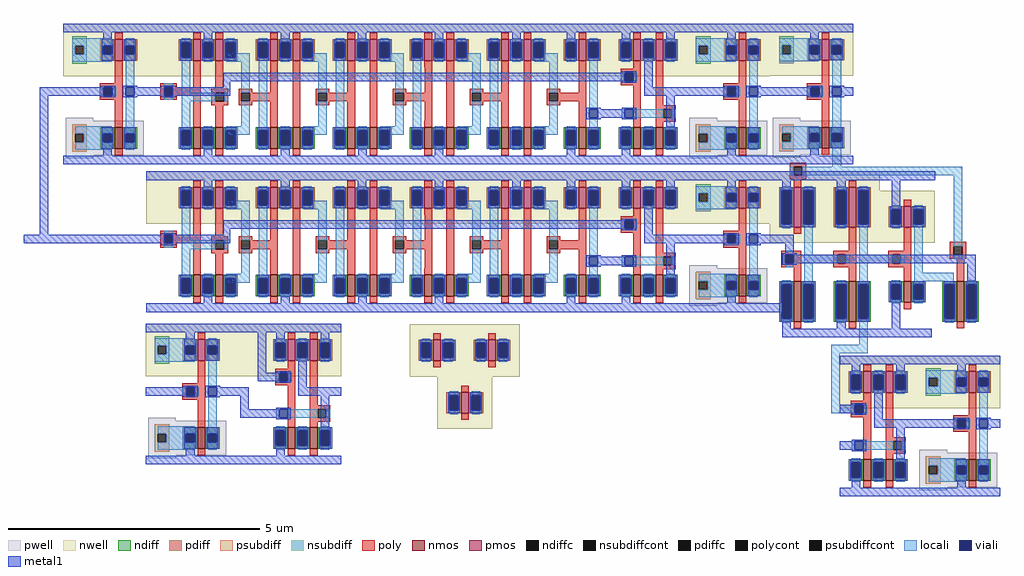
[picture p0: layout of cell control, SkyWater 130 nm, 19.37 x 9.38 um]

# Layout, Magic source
magic
tech sky130A
magscale 1 2
<< nwell >>
rect 658 -841 798 -633
<< ndiff >>
rect 3148 -476 3206 -464
rect 3148 -612 3160 -476
rect 3194 -612 3206 -476
rect 3148 -624 3206 -612
<< pdiff >>
rect 3148 -102 3206 -90
rect 3148 -238 3160 -102
rect 3194 -238 3206 -102
rect 3148 -250 3206 -238
<< ndiffc >>
rect 3160 -612 3194 -476
<< pdiffc >>
rect 3160 -238 3194 -102
<< poly >>
rect 2884 -9 2950 7
rect 2884 -43 2900 -9
rect 2934 -43 2950 -9
rect 2884 -59 2950 -43
rect 2900 -64 2930 -59
rect 3118 -342 3148 -276
rect 3336 -342 3366 -250
rect 2850 -358 2930 -342
rect 2850 -392 2866 -358
rect 2900 -392 2930 -358
rect 2850 -408 2930 -392
rect 3057 -358 3148 -342
rect 3057 -392 3073 -358
rect 3107 -392 3148 -358
rect 3057 -408 3148 -392
rect 3275 -358 3366 -342
rect 3275 -392 3291 -358
rect 3325 -392 3366 -358
rect 3520 -324 3586 -308
rect 3520 -358 3536 -324
rect 3570 -358 3586 -324
rect 3520 -374 3586 -358
rect 3275 -408 3366 -392
rect 2900 -438 2930 -408
rect 3118 -438 3148 -408
rect 3336 -464 3366 -408
rect 3547 -438 3577 -374
<< polycont >>
rect 2900 -43 2934 -9
rect 2866 -392 2900 -358
rect 3073 -392 3107 -358
rect 3291 -392 3325 -358
rect 3536 -358 3570 -324
<< locali >>
rect 3054 -9 3088 60
rect 2884 -43 2900 -9
rect 2934 -43 3570 -9
rect 3160 -102 3194 -86
rect 2866 -358 2900 -342
rect 2866 -408 2900 -392
rect 2942 -358 2976 -254
rect 3160 -358 3194 -238
rect 2942 -392 3073 -358
rect 3107 -392 3123 -358
rect 3160 -392 3291 -358
rect 3325 -392 3341 -358
rect 2942 -460 2976 -392
rect 3160 -476 3194 -392
rect 3378 -430 3412 -254
rect 3536 -324 3570 -43
rect 3536 -374 3570 -358
rect 3378 -460 3535 -430
rect 3412 -464 3535 -460
rect 3160 -716 3194 -612
rect 3049 -750 3194 -716
rect 3049 -954 3083 -750
rect 3049 -988 3128 -954
<< viali >>
rect 3160 -238 3194 -102
rect 2866 -392 2900 -358
rect 3160 -612 3194 -476
<< metal1 >>
rect -93 272 34 306
rect -93 -280 -59 272
rect 2854 -28 3024 -27
rect 2806 -62 3461 -28
rect 2854 -90 2888 -62
rect 3072 -90 3106 -62
rect 3154 -102 3200 -90
rect 3154 -238 3160 -102
rect 3194 -238 3200 -102
rect 3290 -166 3324 -62
rect 3154 -250 3200 -238
rect -155 -314 391 -280
rect 2806 -314 2900 -280
rect 2866 -352 2900 -314
rect 2854 -358 2912 -352
rect 2854 -392 2866 -358
rect 2900 -392 3623 -358
rect 2854 -398 2912 -392
rect 3589 -464 3623 -392
rect 3154 -476 3200 -464
rect 2806 -586 2848 -552
rect 2849 -586 2854 -552
rect 3154 -612 3160 -476
rect 3194 -612 3200 -476
rect 3154 -624 3200 -612
rect 658 -667 798 -633
rect 2854 -653 2888 -624
rect 3072 -653 3106 -624
rect 3290 -653 3324 -548
rect 772 -861 806 -667
rect 2854 -687 3449 -653
rect 622 -885 624 -879
rect 658 -919 738 -885
rect 704 -972 738 -919
rect 704 -1006 798 -972
rect 658 -1191 798 -1157
use del_cell  del_cell_0
transform 1 0 496 0 1 1
box -166 -1 2310 557
use del_cell  del_cell_1
transform 1 0 496 0 1 -585
box -166 -1 2310 557
use sky130_fd_pr__nfet_01v8_BBXUYH  m1
transform 1 0 2915 0 1 -544
box -73 -106 73 106
use sky130_fd_pr__pfet_01v8_5C6TXA  m2
transform 1 0 2915 0 1 -170
box -109 -142 109 142
use sky130_fd_pr__pfet_01v8_5C6TXA  m3
transform 1 0 3133 0 1 -170
box -109 -142 109 142
use sky130_fd_pr__nfet_01v8_BBXUYH  m4
transform 1 0 3133 0 1 -544
box -73 -106 73 106
use sky130_fd_pr__pfet_01v8_4Y88KP  m5
transform 1 0 3351 0 1 -208
box -109 -104 109 104
use sky130_fd_pr__nfet_01v8_A6LSUL  m6
transform 1 0 3351 0 1 -506
box -73 -68 73 68
use sky130_fd_pr__nfet_01v8_BBXUYH  m7
transform 1 0 3562 0 1 -544
box -73 -106 73 106
use sky130_fd_pr__pfet_01v8_4Y88KP  m8
transform 1 0 1485 0 1 -738
box -109 -104 109 104
use sky130_fd_pr__pfet_01v8_4Y88KP  m9
transform 1 0 1703 0 1 -738
box -109 -104 109 104
use sky130_fd_pr__pfet_01v8_4Y88KP  m10
transform 1 0 1595 0 1 -946
box -109 -104 109 104
use nand2_f  nand2_f_0 ~/Desktop/FabRAM/FE/sram130/nand2
transform 1 0 3083 0 1 -1456
box 0 138 306 696
use nand2_f  nand2_f_1
transform 1 0 798 0 1 -1329
box 0 138 306 696
use not_f  not_f_0 ~/Desktop/FabRAM/FE/sram130/not
transform 1 0 0 0 1 -138
box 0 138 330 696
use not_f  not_f_1
transform 1 0 2806 0 1 -137
box 0 138 330 696
use not_f  not_f_2
transform 1 0 3389 0 1 -1456
box 0 138 330 696
use not_f  not_f_3
transform 1 0 328 0 1 -1329
box 0 138 330 696
<< end >>

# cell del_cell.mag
magic
tech sky130A
magscale 1 2
<< nwell >>
rect -166 349 -73 557
<< nmos >>
rect 633 62 663 146
rect 939 62 969 146
rect 1244 62 1274 146
rect 1550 62 1580 146
<< pmos >>
rect 633 411 663 495
rect 939 411 969 495
rect 1244 411 1274 495
rect 1550 411 1580 495
<< ndiff >>
rect 445 134 503 146
rect 445 74 457 134
rect 491 74 503 134
rect 445 62 503 74
rect 751 134 809 146
rect 751 74 763 134
rect 797 74 809 134
rect 751 62 809 74
rect 1056 134 1114 146
rect 1056 74 1068 134
rect 1102 74 1114 134
rect 1056 62 1114 74
rect 1362 134 1420 146
rect 1362 74 1374 134
rect 1408 74 1420 134
rect 1362 62 1420 74
<< pdiff >>
rect 445 483 503 495
rect 445 423 457 483
rect 491 423 503 483
rect 445 411 503 423
rect 751 483 809 495
rect 751 423 763 483
rect 797 423 809 483
rect 751 411 809 423
rect 1056 483 1114 495
rect 1056 423 1068 483
rect 1102 423 1114 483
rect 1056 411 1114 423
rect 1362 483 1420 495
rect 1362 423 1374 483
rect 1408 423 1420 483
rect 1362 411 1420 423
<< ndiffc >>
rect 457 74 491 134
rect 763 74 797 134
rect 1068 74 1102 134
rect 1374 74 1408 134
<< pdiffc >>
rect 457 423 491 483
rect 763 423 797 483
rect 1068 423 1102 483
rect 1374 423 1408 483
<< poly >>
rect 633 495 663 521
rect 939 495 969 521
rect 1244 495 1274 521
rect 1550 495 1580 521
rect -110 305 -44 321
rect 21 305 51 385
rect -110 271 -94 305
rect -60 271 51 305
rect 109 299 139 386
rect -110 255 -44 271
rect 21 172 51 271
rect 93 283 159 299
rect 93 249 109 283
rect 143 249 159 283
rect 93 233 159 249
rect 201 283 255 299
rect 327 283 357 385
rect 201 249 211 283
rect 245 249 357 283
rect 201 233 255 249
rect 109 172 139 233
rect 327 172 357 249
rect 415 172 445 385
rect 507 283 561 299
rect 633 283 663 411
rect 507 249 517 283
rect 551 249 663 283
rect 507 233 561 249
rect 633 146 663 249
rect 721 172 751 385
rect 813 283 867 299
rect 939 283 969 411
rect 813 249 823 283
rect 857 249 969 283
rect 813 233 867 249
rect 939 146 969 249
rect 1026 169 1056 386
rect 1118 283 1172 299
rect 1244 283 1274 411
rect 1118 249 1128 283
rect 1162 249 1274 283
rect 1118 233 1172 249
rect 1244 146 1274 249
rect 1332 172 1362 385
rect 1424 283 1478 299
rect 1550 283 1580 411
rect 1424 249 1434 283
rect 1468 249 1580 283
rect 1424 233 1478 249
rect 1550 146 1580 249
rect 633 36 663 62
rect 939 36 969 62
rect 1244 36 1274 62
rect 1550 36 1580 62
<< polycont >>
rect -94 271 -60 305
rect 109 249 143 283
rect 211 249 245 283
rect 517 249 551 283
rect 823 249 857 283
rect 1128 249 1162 283
rect 1434 249 1468 283
<< locali >>
rect 457 483 491 499
rect 159 407 245 441
rect 763 483 797 499
rect 491 423 551 441
rect 457 407 551 423
rect 1068 483 1102 499
rect 797 423 857 441
rect 763 407 857 423
rect 1374 483 1408 499
rect 1102 423 1162 441
rect 1068 407 1162 423
rect 1408 423 1468 441
rect 1374 407 1468 423
rect -94 305 -60 321
rect -94 255 -60 271
rect -25 283 9 407
rect 211 283 245 407
rect -25 249 109 283
rect 143 249 159 283
rect -25 150 9 249
rect 211 150 245 249
rect 281 150 315 407
rect 517 283 551 407
rect 517 150 551 249
rect 587 150 621 407
rect 823 283 857 407
rect 823 150 857 249
rect 892 150 926 407
rect 1128 283 1162 407
rect 1128 150 1162 249
rect 1198 150 1232 407
rect 1434 283 1468 407
rect 1434 150 1468 249
rect 1592 218 1626 407
rect 1592 150 1626 184
rect 159 116 245 150
rect 457 134 551 150
rect 491 116 551 134
rect 763 134 857 150
rect 457 58 491 74
rect 797 116 857 134
rect 1068 134 1162 150
rect 763 58 797 74
rect 1102 116 1162 134
rect 1374 134 1468 150
rect 1068 58 1102 74
rect 1408 116 1468 134
rect 1374 58 1408 74
<< viali >>
rect 457 423 491 483
rect 763 423 797 483
rect 1068 423 1102 483
rect 1374 423 1408 483
rect -94 271 -60 305
rect 1592 184 1626 218
rect 457 74 491 134
rect 763 74 797 134
rect 1068 74 1102 134
rect 1374 74 1408 134
<< metal1 >>
rect -166 523 1674 557
rect 63 495 97 523
rect 369 495 403 523
rect 674 495 708 523
rect 980 495 1014 523
rect 1286 495 1320 523
rect 1504 495 1538 523
rect 451 483 497 495
rect 451 423 457 483
rect 491 423 497 483
rect 451 411 497 423
rect 757 483 803 495
rect 757 423 763 483
rect 797 423 803 483
rect 757 411 803 423
rect 1062 483 1108 495
rect 1062 423 1068 483
rect 1102 423 1108 483
rect 1062 411 1108 423
rect 1368 483 1414 495
rect 1368 423 1374 483
rect 1408 423 1414 483
rect 1368 411 1414 423
rect 139 329 1674 363
rect -106 305 -48 311
rect 139 305 167 329
rect -166 271 -94 305
rect -60 271 167 305
rect -106 265 -48 271
rect 1580 218 1638 224
rect 1580 184 1592 218
rect 1626 184 1674 218
rect 1580 178 1638 184
rect 451 134 497 146
rect 451 74 457 134
rect 491 74 497 134
rect 451 62 497 74
rect 757 134 803 146
rect 757 74 763 134
rect 797 74 803 134
rect 757 62 803 74
rect 1062 134 1108 146
rect 1062 74 1068 134
rect 1102 74 1108 134
rect 1062 62 1108 74
rect 1368 134 1414 146
rect 1368 74 1374 134
rect 1408 74 1414 134
rect 1368 62 1414 74
rect 63 33 97 62
rect 369 33 403 62
rect 675 33 709 62
rect 980 33 1014 62
rect 1504 33 1538 62
rect -166 -1 1674 33
use sky130_fd_pr__nfet_01v8_A6LSUL  m1
transform -1 0 36 0 1 104
box -73 -68 73 68
use sky130_fd_pr__nfet_01v8_A6LSUL  m2
transform 1 0 124 0 1 104
box -73 -68 73 68
use sky130_fd_pr__nfet_01v8_A6LSUL  m3
transform -1 0 342 0 1 104
box -73 -68 73 68
use sky130_fd_pr__nfet_01v8_A6LSUL  m4
transform 1 0 430 0 1 104
box -73 -68 73 68
use sky130_fd_pr__nfet_01v8_A6LSUL  m5
transform -1 0 648 0 1 104
box -73 -68 73 68
use sky130_fd_pr__nfet_01v8_A6LSUL  m6
transform 1 0 736 0 1 104
box -73 -68 73 68
use sky130_fd_pr__nfet_01v8_A6LSUL  m7
transform -1 0 953 0 1 104
box -73 -68 73 68
use sky130_fd_pr__nfet_01v8_A6LSUL  m8
transform 1 0 1041 0 1 104
box -73 -68 73 68
use sky130_fd_pr__nfet_01v8_A6LSUL  m9
transform -1 0 1259 0 1 104
box -73 -68 73 68
use sky130_fd_pr__nfet_01v8_A6LSUL  m10
transform -1 0 1347 0 1 104
box -73 -68 73 68
use sky130_fd_pr__nfet_01v8_A6LSUL  m11
transform 1 0 1565 0 1 104
box -73 -68 73 68
use sky130_fd_pr__pfet_01v8_4Y88KP  m12
transform -1 0 36 0 1 453
box -109 -104 109 104
use sky130_fd_pr__pfet_01v8_4Y88KP  m13
transform 1 0 124 0 1 453
box -109 -104 109 104
use sky130_fd_pr__pfet_01v8_4Y88KP  m14
transform -1 0 342 0 1 453
box -109 -104 109 104
use sky130_fd_pr__pfet_01v8_4Y88KP  m15
transform 1 0 430 0 1 453
box -109 -104 109 104
use sky130_fd_pr__pfet_01v8_4Y88KP  m16
transform -1 0 648 0 1 453
box -109 -104 109 104
use sky130_fd_pr__pfet_01v8_4Y88KP  m17
transform 1 0 736 0 1 453
box -109 -104 109 104
use sky130_fd_pr__pfet_01v8_4Y88KP  m18
transform -1 0 953 0 1 453
box -109 -104 109 104
use sky130_fd_pr__pfet_01v8_4Y88KP  m19
transform 1 0 1041 0 1 453
box -109 -104 109 104
use sky130_fd_pr__pfet_01v8_4Y88KP  m20
transform -1 0 1259 0 1 453
box -109 -104 109 104
use sky130_fd_pr__pfet_01v8_4Y88KP  m21
transform 1 0 1347 0 1 453
box -109 -104 109 104
use sky130_fd_pr__pfet_01v8_4Y88KP  m22
transform 1 0 1565 0 1 453
box -109 -104 109 104
use nand2_f  nand2_f_0 ~/Desktop/FabRAM/FE/sram130/nand2
transform 1 0 1674 0 1 -139
box 0 138 306 696
use not_f  not_f_0 ~/Desktop/FabRAM/FE/sram130/not
transform 1 0 1980 0 1 -139
box 0 138 330 696
<< end >>

# cell sky130_fd_pr__nfet_01v8_BBXUYH: kit device sky130_fd_pr__nfet_01v8, w 0.8 l 0.150 m 1 nf 1 diffcov 100 polycov 100 guard 0 glc 0 grc 0 gtc 0 gbc 0 tbcov 100 rlcov 100 topc 0 botc 0 poverlap 0 doverlap 0 lmin 0.15 wmin 0.42 compatible {sky130_fd_pr__nfet_01v8 sky130_fd_pr__nfet_01v8_lvt sky130_fd_bs_flash__special_sonosfet_star sky130_fd_pr__nfet_g5v0d10v5 sky130_fd_pr__nfet_05v0_nvt sky130_fd_pr__nfet_03v3_nvt} full_metal 0 viasrc 100 viadrn 100 viagate 100 viagb 0 viagr 0 viagl 0 viagt 0

# cell sky130_fd_pr__pfet_01v8_5C6TXA: kit device sky130_fd_pr__pfet_01v8, w 0.8 l 0.15 m 1 nf 1 diffcov 100 polycov 100 guard 0 glc 0 grc 0 gtc 0 gbc 0 tbcov 100 rlcov 100 topc 0 botc 0 poverlap 0 doverlap 0 lmin 0.15 wmin 0.42 compatible {sky130_fd_pr__pfet_01v8 sky130_fd_pr__pfet_01v8_lvt sky130_fd_pr__pfet_01v8_hvt sky130_fd_pr__pfet_g5v0d10v5} full_metal 0 viasrc 100 viadrn 100 viagate 100 viagb 0 viagr 0 viagl 0 viagt 0

# cell sky130_fd_pr__pfet_01v8_4Y88KP: kit device sky130_fd_pr__pfet_01v8, w 0.42 l 0.15 m 1 nf 1 diffcov 100 polycov 100 guard 0 glc 0 grc 0 gtc 0 gbc 0 tbcov 100 rlcov 100 topc 0 botc 0 poverlap 0 doverlap 0 lmin 0.15 wmin 0.42 compatible {sky130_fd_pr__pfet_01v8 sky130_fd_pr__pfet_01v8_lvt sky130_fd_pr__pfet_01v8_hvt sky130_fd_pr__pfet_g5v0d10v5} full_metal 0 viasrc 100 viadrn 100 viagate 100 viagb 0 viagr 0 viagl 0 viagt 0

# cell sky130_fd_pr__nfet_01v8_A6LSUL: kit device sky130_fd_pr__nfet_01v8, w 0.420 l 0.150 m 1 nf 1 diffcov 100 polycov 100 guard 0 glc 0 grc 0 gtc 0 gbc 0 tbcov 100 rlcov 100 topc 0 botc 0 poverlap 0 doverlap 0 lmin 0.15 wmin 0.42 compatible {sky130_fd_pr__nfet_01v8 sky130_fd_pr__nfet_01v8_lvt sky130_fd_bs_flash__special_sonosfet_star sky130_fd_pr__nfet_g5v0d10v5 sky130_fd_pr__nfet_05v0_nvt sky130_fd_pr__nfet_03v3_nvt} full_metal 0 viasrc 100 viadrn 100 viagate 100 viagb 0 viagr 0 viagl 0 viagt 0

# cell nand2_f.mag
magic
tech sky130A
magscale 1 2
<< nwell >>
rect 0 488 306 696
<< nmos >>
rect 94 201 124 285
rect 182 201 212 285
<< pmos >>
rect 94 550 124 634
rect 182 550 212 634
<< ndiff >>
rect 36 273 94 285
rect 36 213 48 273
rect 82 213 94 273
rect 36 201 94 213
rect 124 273 182 285
rect 124 213 136 273
rect 170 213 182 273
rect 124 201 182 213
rect 212 273 270 285
rect 212 213 224 273
rect 258 213 270 273
rect 212 201 270 213
<< pdiff >>
rect 36 622 94 634
rect 36 562 48 622
rect 82 562 94 622
rect 36 550 94 562
rect 124 622 182 634
rect 124 562 136 622
rect 170 562 182 622
rect 124 550 182 562
rect 212 622 270 634
rect 212 562 224 622
rect 258 562 270 622
rect 212 550 270 562
<< ndiffc >>
rect 48 213 82 273
rect 136 213 170 273
rect 224 213 258 273
<< pdiffc >>
rect 48 562 82 622
rect 136 562 170 622
rect 224 562 258 622
<< poly >>
rect 94 634 124 660
rect 182 634 212 660
rect 94 518 124 550
rect 44 502 124 518
rect 44 468 60 502
rect 94 468 124 502
rect 44 452 124 468
rect 94 285 124 452
rect 182 373 212 550
rect 182 357 262 373
rect 182 323 212 357
rect 246 323 262 357
rect 182 307 262 323
rect 182 285 212 307
rect 94 175 124 201
rect 182 175 212 201
<< polycont >>
rect 60 468 94 502
rect 212 323 246 357
<< locali >>
rect 48 622 82 638
rect 48 546 82 562
rect 136 622 170 638
rect 136 546 170 562
rect 224 622 258 638
rect 224 546 258 562
rect 44 468 60 502
rect 94 468 110 502
rect 48 323 60 357
rect 94 323 212 357
rect 246 323 262 357
rect 48 273 82 289
rect 48 197 82 213
rect 136 273 170 289
rect 136 197 170 213
rect 224 273 258 289
rect 224 197 258 213
<< viali >>
rect 48 562 82 622
rect 136 562 170 622
rect 224 562 258 622
rect 60 468 94 502
rect 60 323 94 357
rect 48 213 82 273
rect 136 213 170 273
rect 224 213 258 273
<< metal1 >>
rect 0 662 306 696
rect 48 634 82 662
rect 224 634 258 662
rect 42 622 88 634
rect 42 562 48 622
rect 82 562 88 622
rect 42 550 88 562
rect 130 622 176 634
rect 130 562 136 622
rect 170 562 176 622
rect 130 550 176 562
rect 218 622 264 634
rect 218 562 224 622
rect 258 562 264 622
rect 218 550 264 562
rect 48 502 106 508
rect 0 468 60 502
rect 94 468 106 502
rect 48 462 106 468
rect 136 444 170 550
rect 136 410 306 444
rect 48 357 106 363
rect 0 323 60 357
rect 94 323 106 357
rect 48 317 106 323
rect 224 285 258 410
rect 42 273 88 285
rect 42 213 48 273
rect 82 213 88 273
rect 42 201 88 213
rect 130 273 176 285
rect 130 213 136 273
rect 170 213 176 273
rect 130 201 176 213
rect 218 273 264 285
rect 218 213 224 273
rect 258 213 264 273
rect 218 201 264 213
rect 48 172 82 201
rect 0 138 306 172
<< labels >>
rlabel metal1 0 662 34 696 0 VDD
rlabel metal1 0 468 34 502 0 A
rlabel metal1 0 323 34 357 0 B
rlabel metal1 0 138 34 172 0 VSS
rlabel metal1 272 410 306 444 0 Y
<< end >>

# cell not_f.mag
magic
tech sky130A
magscale 1 2
<< nwell >>
rect 0 488 330 696
<< pwell >>
rect 10 311 120 323
rect 10 175 320 311
rect 10 163 120 175
<< nmos >>
rect 206 201 236 285
<< pmos >>
rect 206 550 236 634
<< ndiff >>
rect 148 260 206 285
rect 148 226 160 260
rect 194 226 206 260
rect 148 201 206 226
rect 236 260 294 285
rect 236 226 248 260
rect 282 226 294 260
rect 236 201 294 226
<< pdiff >>
rect 148 609 206 634
rect 148 575 160 609
rect 194 575 206 609
rect 148 550 206 575
rect 236 609 294 634
rect 236 575 248 609
rect 282 575 294 609
rect 236 550 294 575
<< ndiffc >>
rect 160 226 194 260
rect 248 226 282 260
<< pdiffc >>
rect 160 575 194 609
rect 248 575 282 609
<< psubdiff >>
rect 36 260 94 297
rect 36 226 48 260
rect 82 226 94 260
rect 36 189 94 226
<< nsubdiff >>
rect 36 609 94 646
rect 36 575 48 609
rect 82 575 94 609
rect 36 538 94 575
<< psubdiffcont >>
rect 48 226 82 260
<< nsubdiffcont >>
rect 48 575 82 609
<< poly >>
rect 206 634 236 660
rect 206 460 236 550
rect 145 444 236 460
rect 145 410 161 444
rect 195 410 236 444
rect 145 394 236 410
rect 206 285 236 394
rect 206 175 236 201
<< polycont >>
rect 161 410 195 444
<< locali >>
rect 36 609 194 638
rect 36 575 48 609
rect 82 575 160 609
rect 36 546 194 575
rect 248 609 282 638
rect 248 444 282 575
rect 145 410 161 444
rect 195 410 211 444
rect 48 260 194 289
rect 82 226 160 260
rect 48 197 194 226
rect 248 260 282 410
rect 248 197 282 226
<< viali >>
rect 160 575 194 609
rect 248 575 282 609
rect 161 410 195 444
rect 248 410 282 444
rect 160 226 194 260
rect 248 226 282 260
<< metal1 >>
rect 0 662 330 696
rect 160 634 194 662
rect 154 609 200 634
rect 154 575 160 609
rect 194 575 200 609
rect 154 550 200 575
rect 242 609 288 634
rect 242 575 248 609
rect 282 575 288 609
rect 242 550 288 575
rect 149 444 207 450
rect 0 410 161 444
rect 195 410 207 444
rect 149 404 207 410
rect 236 444 294 450
rect 236 410 248 444
rect 282 410 330 444
rect 236 404 294 410
rect 154 260 200 285
rect 154 226 160 260
rect 194 226 200 260
rect 154 201 200 226
rect 242 260 288 285
rect 242 226 248 260
rect 282 226 288 260
rect 242 201 288 226
rect 160 172 194 201
rect 0 138 330 172
<< labels >>
flabel metal1 s 296 410 330 444 0 FreeSans 44 0 0 0 B
port 1 nsew
flabel metal1 s 0 662 34 696 0 FreeSans 44 0 0 0 VDD
port 2 nsew
flabel metal1 s 0 410 34 444 0 FreeSans 44 0 0 0 A
port 3 nsew
flabel metal1 s 0 138 34 172 0 FreeSans 44 0 0 0 VSS
port 4 nsew
<< end >>
